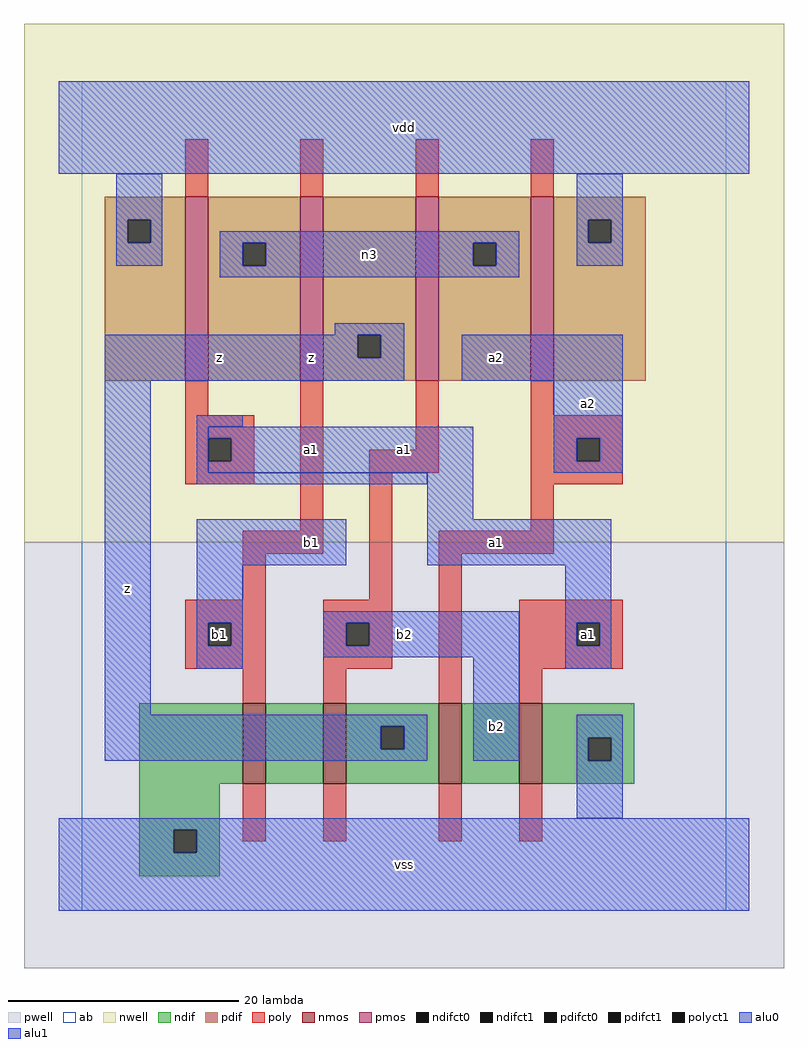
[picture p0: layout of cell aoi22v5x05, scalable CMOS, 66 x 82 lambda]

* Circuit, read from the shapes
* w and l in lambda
.subckt aoi22v5x05 a1 a2 b1 b2 n3 vdd vss z
M1 n1 b1 vss VSUBS nfet w=7 l=2
M2 z b2 n1 VSUBS nfet w=7 l=2
M3 n2 a2 z VSUBS nfet w=7 l=2
M4 vss a1 n2 VSUBS nfet w=7 l=2
M5 n3 a1 vdd n4 pfet w=16 l=2
M6 z b1 n3 n4 pfet w=16 l=2
M7 n3 b2 z n4 pfet w=16 l=2
M8 vdd a2 n3 n4 pfet w=16 l=2
.ends

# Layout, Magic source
magic
tech scmos
<< ab >>
rect 0 0 56 72
<< nwell >>
rect -5 32 61 77
<< pwell >>
rect -5 -5 61 32
<< poly >>
rect 9 62 11 67
rect 19 62 21 67
rect 29 62 31 67
rect 39 62 41 67
rect 9 43 11 46
rect 9 41 15 43
rect 9 39 11 41
rect 13 39 15 41
rect 9 37 15 39
rect 19 33 21 46
rect 29 40 31 46
rect 14 31 21 33
rect 25 38 31 40
rect 39 43 41 46
rect 39 41 47 43
rect 39 39 43 41
rect 45 39 47 41
rect 14 27 16 31
rect 25 27 27 38
rect 39 37 47 39
rect 39 33 41 37
rect 9 25 16 27
rect 9 23 11 25
rect 13 23 16 25
rect 9 21 16 23
rect 14 18 16 21
rect 21 25 27 27
rect 21 23 23 25
rect 25 23 27 25
rect 21 21 27 23
rect 31 31 41 33
rect 21 18 23 21
rect 31 18 33 31
rect 38 25 47 27
rect 38 23 43 25
rect 45 23 47 25
rect 38 21 47 23
rect 38 18 40 21
rect 14 6 16 11
rect 21 6 23 11
rect 31 6 33 11
rect 38 6 40 11
<< ndif >>
rect 5 11 14 18
rect 16 11 21 18
rect 23 16 31 18
rect 23 14 26 16
rect 28 14 31 16
rect 23 11 31 14
rect 33 11 38 18
rect 40 15 48 18
rect 40 13 44 15
rect 46 13 48 15
rect 40 11 48 13
rect 5 7 12 11
rect 5 5 8 7
rect 10 5 12 7
rect 5 3 12 5
<< pdif >>
rect 2 60 9 62
rect 2 58 4 60
rect 6 58 9 60
rect 2 46 9 58
rect 11 58 19 62
rect 11 56 14 58
rect 16 56 19 58
rect 11 46 19 56
rect 21 50 29 62
rect 21 48 24 50
rect 26 48 29 50
rect 21 46 29 48
rect 31 58 39 62
rect 31 56 34 58
rect 36 56 39 58
rect 31 46 39 56
rect 41 60 49 62
rect 41 58 44 60
rect 46 58 49 60
rect 41 46 49 58
<< alu1 >>
rect -2 64 58 72
rect 22 50 28 51
rect 2 48 24 50
rect 26 48 28 50
rect 2 46 28 48
rect 33 46 47 50
rect 2 17 6 46
rect 11 41 34 42
rect 13 39 34 41
rect 11 38 34 39
rect 41 41 47 46
rect 41 39 43 41
rect 45 39 47 41
rect 41 38 47 39
rect 30 34 34 38
rect 10 30 23 34
rect 30 30 46 34
rect 10 25 14 30
rect 10 23 11 25
rect 13 23 14 25
rect 10 21 14 23
rect 21 25 38 26
rect 21 23 23 25
rect 25 23 38 25
rect 21 22 38 23
rect 2 16 30 17
rect 2 14 26 16
rect 28 14 30 16
rect 2 13 30 14
rect 34 13 38 22
rect 42 25 46 30
rect 42 23 43 25
rect 45 23 46 25
rect 42 21 46 23
rect -2 7 58 8
rect -2 5 8 7
rect 10 5 58 7
rect -2 0 58 5
<< nmos >>
rect 14 11 16 18
rect 21 11 23 18
rect 31 11 33 18
rect 38 11 40 18
<< pmos >>
rect 9 46 11 62
rect 19 46 21 62
rect 29 46 31 62
rect 39 46 41 62
<< polyct1 >>
rect 11 39 13 41
rect 43 39 45 41
rect 11 23 13 25
rect 23 23 25 25
rect 43 23 45 25
<< ndifct0 >>
rect 44 13 46 15
<< ndifct1 >>
rect 26 14 28 16
rect 8 5 10 7
<< pdifct0 >>
rect 4 58 6 60
rect 14 56 16 58
rect 34 56 36 58
rect 44 58 46 60
<< pdifct1 >>
rect 24 48 26 50
<< alu0 >>
rect 3 60 7 64
rect 3 58 4 60
rect 6 58 7 60
rect 43 60 47 64
rect 3 56 7 58
rect 12 58 38 59
rect 12 56 14 58
rect 16 56 34 58
rect 36 56 38 58
rect 43 58 44 60
rect 46 58 47 60
rect 43 56 47 58
rect 12 55 38 56
rect 10 42 14 43
rect 10 38 11 42
rect 10 37 30 38
rect 43 15 47 17
rect 43 13 44 15
rect 46 13 47 15
rect 43 8 47 13
<< labels >>
rlabel alu0 25 57 25 57 6 n3
rlabel alu1 4 28 4 28 6 z
rlabel polyct1 12 24 12 24 6 b1
rlabel alu1 20 32 20 32 6 b1
rlabel alu1 20 40 20 40 6 a1
rlabel alu1 12 48 12 48 6 z
rlabel alu1 20 48 20 48 6 z
rlabel alu1 28 4 28 4 6 vss
rlabel alu1 36 16 36 16 6 b2
rlabel alu1 28 24 28 24 6 b2
rlabel alu1 36 32 36 32 6 a1
rlabel alu1 28 40 28 40 6 a1
rlabel alu1 36 48 36 48 6 a2
rlabel alu1 28 68 28 68 6 vdd
rlabel polyct1 44 24 44 24 6 a1
rlabel alu1 44 44 44 44 6 a2
<< end >>
